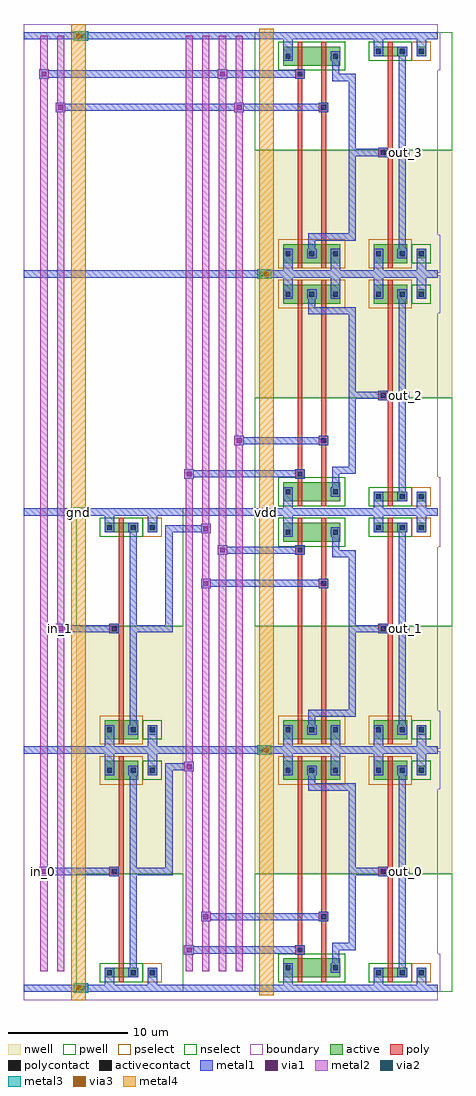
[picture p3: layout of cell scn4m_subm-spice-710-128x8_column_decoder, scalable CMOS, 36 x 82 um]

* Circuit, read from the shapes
.subckt scn4m_subm-spice-710-128x8_column_decoder gnd in_0 in_1 out_0 out_1 out_2 out_3 vdd
M1 scn4m_subm-spice-710-128x8_hierarchical_predecode2x4_0_0/scn4m_subm-spice-710-128x8_pand2_2/A in_0 gnd gnd nfet w=0.8u l=0.4u
M2 scn4m_subm-spice-710-128x8_hierarchical_predecode2x4_0_0/scn4m_subm-spice-710-128x8_pand2_2/B in_1 gnd gnd nfet w=0.8u l=0.4u
M3 scn4m_subm-spice-710-128x8_hierarchical_predecode2x4_0_0/scn4m_subm-spice-710-128x8_pand2_2/scn4m_subm-spice-710-128x8_pnand2_0_0/scn4m_subm-spice-710-128x8_nmos_m1_w1_600_sm1_dactive_2/D scn4m_subm-spice-710-128x8_hierarchical_predecode2x4_0_0/scn4m_subm-spice-710-128x8_pand2_2/A gnd gnd nfet w=1.6u l=0.4u
M4 scn4m_subm-spice-710-128x8_hierarchical_predecode2x4_0_0/scn4m_subm-spice-710-128x8_pand2_3/scn4m_subm-spice-710-128x8_pnand2_0_0/scn4m_subm-spice-710-128x8_nmos_m1_w1_600_sm1_dactive_2/D in_0 gnd gnd nfet w=1.6u l=0.4u
M5 scn4m_subm-spice-710-128x8_hierarchical_predecode2x4_0_0/scn4m_subm-spice-710-128x8_pand2_4/scn4m_subm-spice-710-128x8_pnand2_0_0/scn4m_subm-spice-710-128x8_nmos_m1_w1_600_sm1_dactive_2/D scn4m_subm-spice-710-128x8_hierarchical_predecode2x4_0_0/scn4m_subm-spice-710-128x8_pand2_2/A gnd gnd nfet w=1.6u l=0.4u
M6 scn4m_subm-spice-710-128x8_hierarchical_predecode2x4_0_0/scn4m_subm-spice-710-128x8_pand2_5/scn4m_subm-spice-710-128x8_pnand2_0_0/scn4m_subm-spice-710-128x8_nmos_m1_w1_600_sm1_dactive_2/D in_0 gnd gnd nfet w=1.6u l=0.4u
M7 scn4m_subm-spice-710-128x8_hierarchical_predecode2x4_0_0/scn4m_subm-spice-710-128x8_pand2_2/scn4m_subm-spice-710-128x8_pdriver_1/A scn4m_subm-spice-710-128x8_hierarchical_predecode2x4_0_0/scn4m_subm-spice-710-128x8_pand2_2/B scn4m_subm-spice-710-128x8_hierarchical_predecode2x4_0_0/scn4m_subm-spice-710-128x8_pand2_2/scn4m_subm-spice-710-128x8_pnand2_0_0/scn4m_subm-spice-710-128x8_nmos_m1_w1_600_sm1_dactive_2/D gnd nfet w=1.6u l=0.4u
M8 scn4m_subm-spice-710-128x8_hierarchical_predecode2x4_0_0/scn4m_subm-spice-710-128x8_pand2_3/scn4m_subm-spice-710-128x8_pdriver_1/A scn4m_subm-spice-710-128x8_hierarchical_predecode2x4_0_0/scn4m_subm-spice-710-128x8_pand2_2/B scn4m_subm-spice-710-128x8_hierarchical_predecode2x4_0_0/scn4m_subm-spice-710-128x8_pand2_3/scn4m_subm-spice-710-128x8_pnand2_0_0/scn4m_subm-spice-710-128x8_nmos_m1_w1_600_sm1_dactive_2/D gnd nfet w=1.6u l=0.4u
M9 scn4m_subm-spice-710-128x8_hierarchical_predecode2x4_0_0/scn4m_subm-spice-710-128x8_pand2_4/scn4m_subm-spice-710-128x8_pdriver_1/A in_1 scn4m_subm-spice-710-128x8_hierarchical_predecode2x4_0_0/scn4m_subm-spice-710-128x8_pand2_4/scn4m_subm-spice-710-128x8_pnand2_0_0/scn4m_subm-spice-710-128x8_nmos_m1_w1_600_sm1_dactive_2/D gnd nfet w=1.6u l=0.4u
M10 scn4m_subm-spice-710-128x8_hierarchical_predecode2x4_0_0/scn4m_subm-spice-710-128x8_pand2_5/scn4m_subm-spice-710-128x8_pdriver_1/A in_1 scn4m_subm-spice-710-128x8_hierarchical_predecode2x4_0_0/scn4m_subm-spice-710-128x8_pand2_5/scn4m_subm-spice-710-128x8_pnand2_0_0/scn4m_subm-spice-710-128x8_nmos_m1_w1_600_sm1_dactive_2/D gnd nfet w=1.6u l=0.4u
M11 out_0 scn4m_subm-spice-710-128x8_hierarchical_predecode2x4_0_0/scn4m_subm-spice-710-128x8_pand2_2/scn4m_subm-spice-710-128x8_pdriver_1/A gnd gnd nfet w=0.8u l=0.4u
M12 out_1 scn4m_subm-spice-710-128x8_hierarchical_predecode2x4_0_0/scn4m_subm-spice-710-128x8_pand2_3/scn4m_subm-spice-710-128x8_pdriver_1/A gnd gnd nfet w=0.8u l=0.4u
M13 out_2 scn4m_subm-spice-710-128x8_hierarchical_predecode2x4_0_0/scn4m_subm-spice-710-128x8_pand2_4/scn4m_subm-spice-710-128x8_pdriver_1/A gnd gnd nfet w=0.8u l=0.4u
M14 out_3 scn4m_subm-spice-710-128x8_hierarchical_predecode2x4_0_0/scn4m_subm-spice-710-128x8_pand2_5/scn4m_subm-spice-710-128x8_pdriver_1/A gnd gnd nfet w=0.8u l=0.4u
M15 scn4m_subm-spice-710-128x8_hierarchical_predecode2x4_0_0/scn4m_subm-spice-710-128x8_pand2_2/A in_0 vdd vdd pfet w=1.6u l=0.4u
M16 scn4m_subm-spice-710-128x8_hierarchical_predecode2x4_0_0/scn4m_subm-spice-710-128x8_pand2_2/B in_1 vdd vdd pfet w=1.6u l=0.4u
M17 scn4m_subm-spice-710-128x8_hierarchical_predecode2x4_0_0/scn4m_subm-spice-710-128x8_pand2_2/scn4m_subm-spice-710-128x8_pdriver_1/A scn4m_subm-spice-710-128x8_hierarchical_predecode2x4_0_0/scn4m_subm-spice-710-128x8_pand2_2/A vdd vdd pfet w=1.6u l=0.4u
M18 scn4m_subm-spice-710-128x8_hierarchical_predecode2x4_0_0/scn4m_subm-spice-710-128x8_pand2_3/scn4m_subm-spice-710-128x8_pdriver_1/A in_0 vdd vdd pfet w=1.6u l=0.4u
M19 scn4m_subm-spice-710-128x8_hierarchical_predecode2x4_0_0/scn4m_subm-spice-710-128x8_pand2_4/scn4m_subm-spice-710-128x8_pdriver_1/A scn4m_subm-spice-710-128x8_hierarchical_predecode2x4_0_0/scn4m_subm-spice-710-128x8_pand2_2/A vdd vdd pfet w=1.6u l=0.4u
M20 scn4m_subm-spice-710-128x8_hierarchical_predecode2x4_0_0/scn4m_subm-spice-710-128x8_pand2_5/scn4m_subm-spice-710-128x8_pdriver_1/A in_0 vdd vdd pfet w=1.6u l=0.4u
M21 vdd scn4m_subm-spice-710-128x8_hierarchical_predecode2x4_0_0/scn4m_subm-spice-710-128x8_pand2_2/B scn4m_subm-spice-710-128x8_hierarchical_predecode2x4_0_0/scn4m_subm-spice-710-128x8_pand2_2/scn4m_subm-spice-710-128x8_pdriver_1/A vdd pfet w=1.6u l=0.4u
M22 vdd scn4m_subm-spice-710-128x8_hierarchical_predecode2x4_0_0/scn4m_subm-spice-710-128x8_pand2_2/B scn4m_subm-spice-710-128x8_hierarchical_predecode2x4_0_0/scn4m_subm-spice-710-128x8_pand2_3/scn4m_subm-spice-710-128x8_pdriver_1/A vdd pfet w=1.6u l=0.4u
M23 vdd in_1 scn4m_subm-spice-710-128x8_hierarchical_predecode2x4_0_0/scn4m_subm-spice-710-128x8_pand2_4/scn4m_subm-spice-710-128x8_pdriver_1/A vdd pfet w=1.6u l=0.4u
M24 vdd in_1 scn4m_subm-spice-710-128x8_hierarchical_predecode2x4_0_0/scn4m_subm-spice-710-128x8_pand2_5/scn4m_subm-spice-710-128x8_pdriver_1/A vdd pfet w=1.6u l=0.4u
M25 out_0 scn4m_subm-spice-710-128x8_hierarchical_predecode2x4_0_0/scn4m_subm-spice-710-128x8_pand2_2/scn4m_subm-spice-710-128x8_pdriver_1/A vdd vdd pfet w=1.6u l=0.4u
M26 out_1 scn4m_subm-spice-710-128x8_hierarchical_predecode2x4_0_0/scn4m_subm-spice-710-128x8_pand2_3/scn4m_subm-spice-710-128x8_pdriver_1/A vdd vdd pfet w=1.6u l=0.4u
M27 out_2 scn4m_subm-spice-710-128x8_hierarchical_predecode2x4_0_0/scn4m_subm-spice-710-128x8_pand2_4/scn4m_subm-spice-710-128x8_pdriver_1/A vdd vdd pfet w=1.6u l=0.4u
M28 out_3 scn4m_subm-spice-710-128x8_hierarchical_predecode2x4_0_0/scn4m_subm-spice-710-128x8_pand2_5/scn4m_subm-spice-710-128x8_pdriver_1/A vdd vdd pfet w=1.6u l=0.4u
.ends

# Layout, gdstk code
import gdstk
lib = gdstk.Library(unit=1e-6, precision=1e-09)
def R(c, l, rs):  # rectangles x0, y0, x1, y1
    for r in rs: c.add(gdstk.rectangle(r[:2], r[2:], *l))
def A(c, l, x, y, w, h, nx, ny, dx, dy):  # array of equal rectangles
    R(c, l, [(x+i*dx, y+j*dy, x+i*dx+w, y+j*dy+h) for i in range(nx) for j in range(ny)])
via3 = (30, 0)
metal4 = (31, 0)
pwell = (41, 0)
nwell = (42, 0)
active = (43, 0)
pselect = (44, 0)
nselect = (45, 0)
poly = (46, 0)
polycontact = (47, 0)
activecontact = (48, 0)
metal1 = (49, 0)
via1 = (50, 0)
metal2 = (51, 0)
via2 = (61, 0)
metal3 = (62, 0)
boundary = (63, 0)

scn4m_subm_spice_710_128 = lib.new_cell('scn4m_subm-spice-710-128x8_contact_12')
R(scn4m_subm_spice_710_128, nwell, [(-1.2,-1.2,2,2)])
R(scn4m_subm_spice_710_128, active, [(0,0,0.8,0.8)])
R(scn4m_subm_spice_710_128, pselect, [(-0.4,-0.4,1.2,1.2)])
R(scn4m_subm_spice_710_128, activecontact, [(0.2,0.2,0.6,0.6)])
R(scn4m_subm_spice_710_128, metal1, [(0,0,0.8,0.8)])
R(scn4m_subm_spice_710_128, boundary, [(-1.2,-1.2,2,2)])

c_scn4m_subm_spice_710_128 = lib.new_cell('scn4m_subm-spice-710-128x8_pmos_m1_w1_600_sm1_dm1_da_p')
R(c_scn4m_subm_spice_710_128, nwell, [(-1.2,-1.2,4,2.8)])
R(c_scn4m_subm_spice_710_128, active, [(0,0,2.8,1.6)])
R(c_scn4m_subm_spice_710_128, pselect, [(-0.4,-0.4,3.2,2)])
R(c_scn4m_subm_spice_710_128, poly, [(1.2,-0.4,1.6,2), (1.2,-0.4,1.6,2)])
R(c_scn4m_subm_spice_710_128, metal1, [(0,0.4,0.8,1.2), (2,0.4,2.8,1.2)])
R(c_scn4m_subm_spice_710_128, boundary, [(-1.2,-1.2,4,2.8)])
c_scn4m_subm_spice_710_128.add(gdstk.Reference(scn4m_subm_spice_710_128, (0,0.4)))
c_scn4m_subm_spice_710_128.add(gdstk.Reference(scn4m_subm_spice_710_128, (2,0.4)))
c_scn4m_subm_spice_710_128.add(gdstk.Label('G', (1.4,0.8), layer=46, texttype=0))
c_scn4m_subm_spice_710_128.add(gdstk.Label('S', (0.4,0.8), layer=49, texttype=0))
c_scn4m_subm_spice_710_128.add(gdstk.Label('D', (2.4,0.8), layer=49, texttype=0))

c_scn4m_subm_spice_710_128_ = lib.new_cell('scn4m_subm-spice-710-128x8_contact_11')
R(c_scn4m_subm_spice_710_128_, pwell, [(-1.2,-1.2,2,2)])
R(c_scn4m_subm_spice_710_128_, active, [(0,0,0.8,0.8)])
R(c_scn4m_subm_spice_710_128_, nselect, [(-0.4,-0.4,1.2,1.2)])
R(c_scn4m_subm_spice_710_128_, activecontact, [(0.2,0.2,0.6,0.6)])
R(c_scn4m_subm_spice_710_128_, metal1, [(0,0,0.8,0.8)])
R(c_scn4m_subm_spice_710_128_, boundary, [(-1.2,-1.2,2,2)])

c_scn4m_subm_spice_710_128__ = lib.new_cell('scn4m_subm-spice-710-128x8_nmos_m1_w0_800_sm1_dm1_da_p')
R(c_scn4m_subm_spice_710_128__, pwell, [(-1.2,-1.2,4,2)])
R(c_scn4m_subm_spice_710_128__, active, [(0,0,2.8,0.8)])
R(c_scn4m_subm_spice_710_128__, nselect, [(-0.4,-0.4,3.2,1.2)])
R(c_scn4m_subm_spice_710_128__, poly, [(1.2,-0.4,1.6,1.2), (1.2,-0.4,1.6,1.2)])
R(c_scn4m_subm_spice_710_128__, metal1, [(0,0,0.8,0.8), (2,0,2.8,0.8)])
R(c_scn4m_subm_spice_710_128__, boundary, [(-1.2,-1.2,4,2)])
c_scn4m_subm_spice_710_128__.add(gdstk.Reference(c_scn4m_subm_spice_710_128_, (0,0)))
c_scn4m_subm_spice_710_128__.add(gdstk.Reference(c_scn4m_subm_spice_710_128_, (2,0)))
c_scn4m_subm_spice_710_128__.add(gdstk.Label('G', (1.4,0.4), layer=46, texttype=0))
c_scn4m_subm_spice_710_128__.add(gdstk.Label('S', (0.4,0.4), layer=49, texttype=0))
c_scn4m_subm_spice_710_128__.add(gdstk.Label('D', (2.4,0.4), layer=49, texttype=0))

c_scn4m_subm_spice_710_128___ = lib.new_cell('scn4m_subm-spice-710-128x8_contact_13')
R(c_scn4m_subm_spice_710_128___, nwell, [(-1.2,-1.2,2,2)])
R(c_scn4m_subm_spice_710_128___, active, [(0,0,0.8,0.8)])
R(c_scn4m_subm_spice_710_128___, nselect, [(-0.4,-0.4,1.2,1.2)])
R(c_scn4m_subm_spice_710_128___, activecontact, [(0.2,0.2,0.6,0.6)])
R(c_scn4m_subm_spice_710_128___, metal1, [(0,0,0.8,0.8)])
R(c_scn4m_subm_spice_710_128___, boundary, [(-1.2,-1.2,2,2)])

c_scn4m_subm_spice_710_128____ = lib.new_cell('scn4m_subm-spice-710-128x8_contact_14')
R(c_scn4m_subm_spice_710_128____, pwell, [(-1.2,-1.2,2,2)])
R(c_scn4m_subm_spice_710_128____, active, [(0,0,0.8,0.8)])
R(c_scn4m_subm_spice_710_128____, pselect, [(-0.4,-0.4,1.2,1.2)])
R(c_scn4m_subm_spice_710_128____, activecontact, [(0.2,0.2,0.6,0.6)])
R(c_scn4m_subm_spice_710_128____, metal1, [(0,0,0.8,0.8)])
R(c_scn4m_subm_spice_710_128____, boundary, [(-1.2,-1.2,2,2)])

c_scn4m_subm_spice_710_128_____ = lib.new_cell('scn4m_subm-spice-710-128x8_contact_15')
R(c_scn4m_subm_spice_710_128_____, poly, [(0,0,0.8,0.8)])
R(c_scn4m_subm_spice_710_128_____, polycontact, [(0.2,0.2,0.6,0.6)])
R(c_scn4m_subm_spice_710_128_____, metal1, [(0,0,0.8,0.8)])
R(c_scn4m_subm_spice_710_128_____, boundary, [(0,0,0.8,0.8)])

c_scn4m_subm_spice_710_128______ = lib.new_cell('scn4m_subm-spice-710-128x8_pinv_2')
R(c_scn4m_subm_spice_710_128______, pwell, [(-1.2,-0.3,7.8,9.6)])
R(c_scn4m_subm_spice_710_128______, nwell, [(-1.2,9.6,7.8,21.5)])
R(c_scn4m_subm_spice_710_128______, poly, [(2.4,2.1,2.8,17.1), (2,9.4,2.4,10.2)])
R(c_scn4m_subm_spice_710_128______, metal1, [(0,-0.3,6.6,0.3), (1.2,-0.3,2,0.9), (4.8,0,5.6,1.3), (3.3,0.9,3.9,18.7), (1.6,9.4,2.4,10.2), (3.6,9.5,4.2,10.1), (1.2,17.9,2,20.3), (4.8,18.3,5.6,20), (0,19.7,6.6,20.3)])
R(c_scn4m_subm_spice_710_128______, boundary, [(0,0,6.6,20), (0,0,6.6,20)])
c_scn4m_subm_spice_710_128______.add(gdstk.Reference(c_scn4m_subm_spice_710_128, (1.2,17.5)))
c_scn4m_subm_spice_710_128______.add(gdstk.Reference(c_scn4m_subm_spice_710_128__, (1.2,0.9)))
c_scn4m_subm_spice_710_128______.add(gdstk.Reference(c_scn4m_subm_spice_710_128___, (4.8,17.9)))
c_scn4m_subm_spice_710_128______.add(gdstk.Reference(c_scn4m_subm_spice_710_128____, (4.8,0.9)))
c_scn4m_subm_spice_710_128______.add(gdstk.Reference(c_scn4m_subm_spice_710_128_____, (1.6,9.4)))
c_scn4m_subm_spice_710_128______.add(gdstk.Label('A', (2,9.8), layer=49, texttype=0))
c_scn4m_subm_spice_710_128______.add(gdstk.Label('Z', (3.9,9.8), layer=49, texttype=0))
c_scn4m_subm_spice_710_128______.add(gdstk.Label('gnd', (3.3,0), layer=49, texttype=0))
c_scn4m_subm_spice_710_128______.add(gdstk.Label('vdd', (3.3,20), layer=49, texttype=0))

c_scn4m_subm_spice_710_128_______ = lib.new_cell('scn4m_subm-spice-710-128x8_pmos_m1_w1_600_sm1_dm1')
R(c_scn4m_subm_spice_710_128_______, nwell, [(-1.2,-1.2,4,2.8)])
R(c_scn4m_subm_spice_710_128_______, active, [(0,0,2.8,1.6)])
R(c_scn4m_subm_spice_710_128_______, pselect, [(-0.4,-0.4,3.2,2)])
R(c_scn4m_subm_spice_710_128_______, poly, [(1.2,-0.4,1.6,2), (1.2,-0.4,1.6,2)])
R(c_scn4m_subm_spice_710_128_______, metal1, [(0,0.4,0.8,1.2), (2,0.4,2.8,1.2)])
R(c_scn4m_subm_spice_710_128_______, boundary, [(-1.2,-1.2,4,2.8)])
c_scn4m_subm_spice_710_128_______.add(gdstk.Reference(scn4m_subm_spice_710_128, (0,0.4)))
c_scn4m_subm_spice_710_128_______.add(gdstk.Reference(scn4m_subm_spice_710_128, (2,0.4)))
c_scn4m_subm_spice_710_128_______.add(gdstk.Label('G', (1.4,0.8), layer=46, texttype=0))
c_scn4m_subm_spice_710_128_______.add(gdstk.Label('S', (0.4,0.8), layer=49, texttype=0))
c_scn4m_subm_spice_710_128_______.add(gdstk.Label('D', (2.4,0.8), layer=49, texttype=0))

c_scn4m_subm_spice_710_128________ = lib.new_cell('scn4m_subm-spice-710-128x8_nmos_m1_w1_600_sm1_dactive')
R(c_scn4m_subm_spice_710_128________, pwell, [(-1.2,-1.2,4,2.8)])
R(c_scn4m_subm_spice_710_128________, active, [(0,0,2.8,1.6), (2.1,0.5,2.7,1.1)])
R(c_scn4m_subm_spice_710_128________, nselect, [(-0.4,-0.4,3.2,2)])
R(c_scn4m_subm_spice_710_128________, poly, [(1.2,-0.4,1.6,2), (1.2,-0.4,1.6,2)])
R(c_scn4m_subm_spice_710_128________, metal1, [(0,0.4,0.8,1.2)])
R(c_scn4m_subm_spice_710_128________, boundary, [(-1.2,-1.2,4,2.8)])
c_scn4m_subm_spice_710_128________.add(gdstk.Reference(c_scn4m_subm_spice_710_128_, (0,0.4)))
c_scn4m_subm_spice_710_128________.add(gdstk.Label('G', (1.4,0.8), layer=46, texttype=0))
c_scn4m_subm_spice_710_128________.add(gdstk.Label('S', (0.4,0.8), layer=49, texttype=0))
c_scn4m_subm_spice_710_128________.add(gdstk.Label('D', (2.4,0.8), layer=43, texttype=0))

c_scn4m_subm_spice_710_128_________ = lib.new_cell('scn4m_subm-spice-710-128x8_nmos_m1_w1_600_sactive_dm1')
R(c_scn4m_subm_spice_710_128_________, pwell, [(-1.2,-1.2,4,2.8)])
R(c_scn4m_subm_spice_710_128_________, active, [(0,0,2.8,1.6), (0.1,0.5,0.7,1.1)])
R(c_scn4m_subm_spice_710_128_________, nselect, [(-0.4,-0.4,3.2,2)])
R(c_scn4m_subm_spice_710_128_________, poly, [(1.2,-0.4,1.6,2), (1.2,-0.4,1.6,2)])
R(c_scn4m_subm_spice_710_128_________, metal1, [(2,0.4,2.8,1.2)])
R(c_scn4m_subm_spice_710_128_________, boundary, [(-1.2,-1.2,4,2.8)])
c_scn4m_subm_spice_710_128_________.add(gdstk.Reference(c_scn4m_subm_spice_710_128_, (2,0.4)))
c_scn4m_subm_spice_710_128_________.add(gdstk.Label('G', (1.4,0.8), layer=46, texttype=0))
c_scn4m_subm_spice_710_128_________.add(gdstk.Label('S', (0.4,0.8), layer=43, texttype=0))
c_scn4m_subm_spice_710_128_________.add(gdstk.Label('D', (2.4,0.8), layer=49, texttype=0))

c_scn4m_subm_spice_710_128__________ = lib.new_cell('scn4m_subm-spice-710-128x8_pnand2_0')
R(c_scn4m_subm_spice_710_128__________, pwell, [(-1.2,-0.3,8.8,9.6)])
R(c_scn4m_subm_spice_710_128__________, nwell, [(-1.2,9.6,8.8,21.5)])
R(c_scn4m_subm_spice_710_128__________, poly, [(2.4,2.8,2.6,3.6), (2.4,2.9,2.8,17.1), (4.4,2.9,4.8,17.1), (4.4,5.6,4.6,6.4)])
R(c_scn4m_subm_spice_710_128__________, metal1, [(0,-0.3,7.6,0.3), (1.2,-0.3,2,1.3), (5.3,2.1,5.9,3.5), (2.2,2.8,3,3.6), (5.3,3.2,5.9,3.8), (5.6,3.2,7,3.8), (6.7,3.2,7.3,3.8), (6.7,3.5,7.3,16.9), (4.2,5.6,5,6.4), (3.3,16.6,3.9,17.2), (3.6,16.6,7,17.2), (6.7,16.6,7.3,17.2), (3.3,16.9,3.9,17.9), (1.2,17.9,2,20.3), (5.2,17.9,6,20.3), (0,19.7,7.6,20.3)])
R(c_scn4m_subm_spice_710_128__________, boundary, [(0,0,7.6,20), (0,0,7.6,20)])
c_scn4m_subm_spice_710_128__________.add(gdstk.Reference(c_scn4m_subm_spice_710_128_______, (1.2,17.5)))
c_scn4m_subm_spice_710_128__________.add(gdstk.Reference(c_scn4m_subm_spice_710_128_______, (3.2,17.5)))
c_scn4m_subm_spice_710_128__________.add(gdstk.Reference(c_scn4m_subm_spice_710_128________, (1.2,0.9)))
c_scn4m_subm_spice_710_128__________.add(gdstk.Reference(c_scn4m_subm_spice_710_128_________, (3.2,0.9)))
c_scn4m_subm_spice_710_128__________.add(gdstk.Reference(c_scn4m_subm_spice_710_128_____, (2.2,2.8)))
c_scn4m_subm_spice_710_128__________.add(gdstk.Reference(c_scn4m_subm_spice_710_128_____, (4.2,5.6)))
c_scn4m_subm_spice_710_128__________.add(gdstk.Label('Z', (7,16.9), layer=49, texttype=0))
c_scn4m_subm_spice_710_128__________.add(gdstk.Label('gnd', (3.8,0), layer=49, texttype=0))
c_scn4m_subm_spice_710_128__________.add(gdstk.Label('vdd', (3.8,20), layer=49, texttype=0))
c_scn4m_subm_spice_710_128__________.add(gdstk.Label('A', (2.6,3.2), layer=49, texttype=0))
c_scn4m_subm_spice_710_128__________.add(gdstk.Label('B', (4.6,6), layer=49, texttype=0))

c_scn4m_subm_spice_710_128___________ = lib.new_cell('scn4m_subm-spice-710-128x8_pinv_1')
R(c_scn4m_subm_spice_710_128___________, pwell, [(-1.2,-0.3,7.8,9.6)])
R(c_scn4m_subm_spice_710_128___________, nwell, [(-1.2,9.6,7.8,21.5)])
R(c_scn4m_subm_spice_710_128___________, poly, [(2.4,2.1,2.8,17.1), (2,9.4,2.4,10.2)])
R(c_scn4m_subm_spice_710_128___________, metal1, [(0,-0.3,6.6,0.3), (1.2,-0.3,2,0.9), (4.8,0,5.6,1.3), (3.3,0.9,3.9,18.7), (1.6,9.4,2.4,10.2), (3.6,9.5,4.2,10.1), (1.2,17.9,2,20.3), (4.8,18.3,5.6,20), (0,19.7,6.6,20.3)])
R(c_scn4m_subm_spice_710_128___________, boundary, [(0,0,6.6,20), (0,0,6.6,20)])
c_scn4m_subm_spice_710_128___________.add(gdstk.Reference(c_scn4m_subm_spice_710_128, (1.2,17.5)))
c_scn4m_subm_spice_710_128___________.add(gdstk.Reference(c_scn4m_subm_spice_710_128__, (1.2,0.9)))
c_scn4m_subm_spice_710_128___________.add(gdstk.Reference(c_scn4m_subm_spice_710_128___, (4.8,17.9)))
c_scn4m_subm_spice_710_128___________.add(gdstk.Reference(c_scn4m_subm_spice_710_128____, (4.8,0.9)))
c_scn4m_subm_spice_710_128___________.add(gdstk.Reference(c_scn4m_subm_spice_710_128_____, (1.6,9.4)))
c_scn4m_subm_spice_710_128___________.add(gdstk.Label('A', (2,9.8), layer=49, texttype=0))
c_scn4m_subm_spice_710_128___________.add(gdstk.Label('Z', (3.9,9.8), layer=49, texttype=0))
c_scn4m_subm_spice_710_128___________.add(gdstk.Label('gnd', (3.3,0), layer=49, texttype=0))
c_scn4m_subm_spice_710_128___________.add(gdstk.Label('vdd', (3.3,20), layer=49, texttype=0))

c_scn4m_subm_spice_710_128____________ = lib.new_cell('scn4m_subm-spice-710-128x8_pdriver')
R(c_scn4m_subm_spice_710_128____________, pwell, [(-1.2,-0.3,7.8,9.6)])
R(c_scn4m_subm_spice_710_128____________, nwell, [(-1.2,9.6,7.8,21.5)])
R(c_scn4m_subm_spice_710_128____________, metal1, [(0,-0.3,6.6,0.3), (1.6,9.4,2.4,10.2), (3.6,9.5,4.2,10.1), (0,19.7,6.6,20.3)])
R(c_scn4m_subm_spice_710_128____________, boundary, [(0,0,6.6,20), (0,0,6.6,20)])
c_scn4m_subm_spice_710_128____________.add(gdstk.Reference(c_scn4m_subm_spice_710_128___________, (0,0)))
c_scn4m_subm_spice_710_128____________.add(gdstk.Label('Z', (3.9,9.8), layer=49, texttype=0))
c_scn4m_subm_spice_710_128____________.add(gdstk.Label('A', (2,9.8), layer=49, texttype=0))
c_scn4m_subm_spice_710_128____________.add(gdstk.Label('gnd', (3.3,0), layer=49, texttype=0))
c_scn4m_subm_spice_710_128____________.add(gdstk.Label('vdd', (3.3,20), layer=49, texttype=0))

c_scn4m_subm_spice_710_128_____________ = lib.new_cell('scn4m_subm-spice-710-128x8_pand2')
R(c_scn4m_subm_spice_710_128_____________, metal1, [(0,-0.3,14.2,0.3), (2.2,2.8,3,3.6), (4.2,5.6,5,6.4), (6.7,9.5,7.3,10.1), (7,9.5,9.6,10.1), (11.2,9.5,11.8,10.1), (6.7,9.8,7.3,16.9), (0,19.7,14.2,20.3)])
R(c_scn4m_subm_spice_710_128_____________, boundary, [(0,0,14.2,20), (0,0,14.2,20)])
c_scn4m_subm_spice_710_128_____________.add(gdstk.Reference(c_scn4m_subm_spice_710_128__________, (0,0)))
c_scn4m_subm_spice_710_128_____________.add(gdstk.Reference(c_scn4m_subm_spice_710_128____________, (7.6,0)))
c_scn4m_subm_spice_710_128_____________.add(gdstk.Label('Z', (11.5,9.8), layer=49, texttype=0))
c_scn4m_subm_spice_710_128_____________.add(gdstk.Label('A', (2.6,3.2), layer=49, texttype=0))
c_scn4m_subm_spice_710_128_____________.add(gdstk.Label('B', (4.6,6), layer=49, texttype=0))
c_scn4m_subm_spice_710_128_____________.add(gdstk.Label('gnd', (7.1,0), layer=49, texttype=0))
c_scn4m_subm_spice_710_128_____________.add(gdstk.Label('vdd', (7.1,20), layer=49, texttype=0))

c_scn4m_subm_spice_710_128______________ = lib.new_cell('scn4m_subm-spice-710-128x8_contact_16')
R(c_scn4m_subm_spice_710_128______________, metal1, [(0,0,0.8,0.8)])
R(c_scn4m_subm_spice_710_128______________, via1, [(0.2,0.2,0.6,0.6)])
R(c_scn4m_subm_spice_710_128______________, metal2, [(0,0,0.8,0.8)])
R(c_scn4m_subm_spice_710_128______________, boundary, [(0,0,0.8,0.8)])

c_scn4m_subm_spice_710_128_______________ = lib.new_cell('scn4m_subm-spice-710-128x8_contact_18')
R(c_scn4m_subm_spice_710_128_______________, metal1, [(0,0,0.8,0.8)])
R(c_scn4m_subm_spice_710_128_______________, via1, [(0.2,0.2,0.6,0.6)])
R(c_scn4m_subm_spice_710_128_______________, metal2, [(0,0,0.8,0.8)])
R(c_scn4m_subm_spice_710_128_______________, boundary, [(0,0,0.8,0.8)])

c_scn4m_subm_spice_710_128________________ = lib.new_cell('scn4m_subm-spice-710-128x8_contact_19')
R(c_scn4m_subm_spice_710_128________________, metal2, [(0,0,0.8,0.8)])
R(c_scn4m_subm_spice_710_128________________, via2, [(0.2,0.2,0.6,0.6)])
R(c_scn4m_subm_spice_710_128________________, metal3, [(0,0,0.8,0.8)])
R(c_scn4m_subm_spice_710_128________________, boundary, [(0,0,0.8,0.8)])

c_scn4m_subm_spice_710_128_________________ = lib.new_cell('scn4m_subm-spice-710-128x8_hierarchical_predecode2x4_0')
R(c_scn4m_subm_spice_710_128_________________, metal1, [(0,-0.3,34.8,0.3), (13.9,2.9,23.2,3.5), (22.9,2.9,23.5,3.5), (15.3,5.7,25.2,6.3), (24.9,5.7,25.5,6.3), (1.7,9.5,7.6,10.1), (7.3,9.5,7.9,10.1), (9.5,9.5,10.1,10.1), (9.8,9.5,12.2,10.1), (11.9,9.5,12.5,10.1), (31.8,9.5,32.4,10.1), (11.9,9.8,12.5,18.6), (11.9,18.3,12.5,18.9), (12.2,18.3,13.9,18.9), (0,19.7,34.8,20.3), (0,19.7,34.8,20.3), (3.1,29.9,7.6,30.5), (7.3,29.9,7.9,30.5), (9.5,29.9,10.1,30.5), (9.8,29.9,12.2,30.5), (11.9,29.9,12.5,30.5), (31.8,29.9,32.4,30.5), (11.9,30.2,12.5,38.6), (15.3,33.7,25.2,34.3), (24.9,33.7,25.5,34.3), (16.7,36.5,23.2,37.1), (22.9,36.5,23.5,37.1), (11.9,38.3,12.5,38.9), (12.2,38.3,15.3,38.9), (0,39.7,34.8,40.3), (0,39.7,34.8,40.3), (13.9,42.9,23.2,43.5), (22.9,42.9,23.5,43.5), (18.1,45.7,25.2,46.3), (24.9,45.7,25.5,46.3), (31.8,49.5,32.4,50.1), (0,59.7,34.8,60.3), (0,59.7,34.8,60.3), (31.8,69.9,32.4,70.5), (3.1,73.7,18.1,74.3), (18.1,73.7,25.2,74.3), (24.9,73.7,25.5,74.3), (1.7,76.5,16.7,77.1), (16.7,76.5,23.2,77.1), (22.9,76.5,23.5,77.1), (0,79.7,34.8,80.3)])
A(c_scn4m_subm_spice_710_128_________________, metal2, 13.6, 1.4, 0.6, 78.6, 4, 1, 1.4, 0)
R(c_scn4m_subm_spice_710_128_________________, metal2, [(1.4,1.4,2,80), (2.8,1.4,3.4,80), (1.3,9.4,2.1,10.2), (2.7,29.8,3.5,30.6)])
A(c_scn4m_subm_spice_710_128_________________, metal3, 4.6, -0.4, 0.8, 0.8, 1, 3, 0, 40)
R(c_scn4m_subm_spice_710_128_________________, metal3, [(19.6,19.6,20.4,20.4), (19.6,59.6,20.4,60.4)])
R(c_scn4m_subm_spice_710_128_________________, boundary, [(0,0,34.8,80)])
c_scn4m_subm_spice_710_128_________________.add(gdstk.Reference(c_scn4m_subm_spice_710_128______, (5.6,0)))
c_scn4m_subm_spice_710_128_________________.add(gdstk.Reference(c_scn4m_subm_spice_710_128______, (5.6,40), x_reflection=True))
c_scn4m_subm_spice_710_128_________________.add(gdstk.Reference(c_scn4m_subm_spice_710_128_____________, (20.6,0)))
c_scn4m_subm_spice_710_128_________________.add(gdstk.Reference(c_scn4m_subm_spice_710_128_____________, (20.6,40), x_reflection=True))
c_scn4m_subm_spice_710_128_________________.add(gdstk.Reference(c_scn4m_subm_spice_710_128_____________, (20.6,40)))
c_scn4m_subm_spice_710_128_________________.add(gdstk.Reference(c_scn4m_subm_spice_710_128_____________, (20.6,80), x_reflection=True))
c_scn4m_subm_spice_710_128_________________.add(gdstk.Reference(c_scn4m_subm_spice_710_128______________, (1.3,9.4)))
c_scn4m_subm_spice_710_128_________________.add(gdstk.Reference(c_scn4m_subm_spice_710_128______________, (2.7,29.8)))
c_scn4m_subm_spice_710_128_________________.add(gdstk.Reference(c_scn4m_subm_spice_710_128______________, (13.5,2.8)))
c_scn4m_subm_spice_710_128_________________.add(gdstk.Reference(c_scn4m_subm_spice_710_128______________, (14.9,5.6)))
c_scn4m_subm_spice_710_128_________________.add(gdstk.Reference(c_scn4m_subm_spice_710_128______________, (16.3,36.4)))
c_scn4m_subm_spice_710_128_________________.add(gdstk.Reference(c_scn4m_subm_spice_710_128______________, (14.9,33.6)))
c_scn4m_subm_spice_710_128_________________.add(gdstk.Reference(c_scn4m_subm_spice_710_128______________, (13.5,42.8)))
c_scn4m_subm_spice_710_128_________________.add(gdstk.Reference(c_scn4m_subm_spice_710_128______________, (17.7,45.6)))
c_scn4m_subm_spice_710_128_________________.add(gdstk.Reference(c_scn4m_subm_spice_710_128______________, (16.3,76.4)))
c_scn4m_subm_spice_710_128_________________.add(gdstk.Reference(c_scn4m_subm_spice_710_128______________, (17.7,73.6)))
c_scn4m_subm_spice_710_128_________________.add(gdstk.Reference(c_scn4m_subm_spice_710_128______________, (13.5,18.2)))
c_scn4m_subm_spice_710_128_________________.add(gdstk.Reference(c_scn4m_subm_spice_710_128______________, (14.9,38.2)))
c_scn4m_subm_spice_710_128_________________.add(gdstk.Reference(c_scn4m_subm_spice_710_128_______________, (1.3,76.4)))
c_scn4m_subm_spice_710_128_________________.add(gdstk.Reference(c_scn4m_subm_spice_710_128_______________, (16.3,76.4)))
c_scn4m_subm_spice_710_128_________________.add(gdstk.Reference(c_scn4m_subm_spice_710_128_______________, (2.7,73.6)))
c_scn4m_subm_spice_710_128_________________.add(gdstk.Reference(c_scn4m_subm_spice_710_128_______________, (17.7,73.6)))
c_scn4m_subm_spice_710_128_________________.add(gdstk.Reference(c_scn4m_subm_spice_710_128_______________, (19.6,19.6)))
c_scn4m_subm_spice_710_128_________________.add(gdstk.Reference(c_scn4m_subm_spice_710_128________________, (19.6,19.6)))
c_scn4m_subm_spice_710_128_________________.add(gdstk.Reference(c_scn4m_subm_spice_710_128_______________, (4.6,-0.4)))
c_scn4m_subm_spice_710_128_________________.add(gdstk.Reference(c_scn4m_subm_spice_710_128________________, (4.6,-0.4)))
c_scn4m_subm_spice_710_128_________________.add(gdstk.Reference(c_scn4m_subm_spice_710_128_______________, (19.6,19.6)))
c_scn4m_subm_spice_710_128_________________.add(gdstk.Reference(c_scn4m_subm_spice_710_128________________, (19.6,19.6)))
c_scn4m_subm_spice_710_128_________________.add(gdstk.Reference(c_scn4m_subm_spice_710_128_______________, (4.6,39.6)))
c_scn4m_subm_spice_710_128_________________.add(gdstk.Reference(c_scn4m_subm_spice_710_128________________, (4.6,39.6)))
c_scn4m_subm_spice_710_128_________________.add(gdstk.Reference(c_scn4m_subm_spice_710_128_______________, (19.6,59.6)))
c_scn4m_subm_spice_710_128_________________.add(gdstk.Reference(c_scn4m_subm_spice_710_128________________, (19.6,59.6)))
c_scn4m_subm_spice_710_128_________________.add(gdstk.Reference(c_scn4m_subm_spice_710_128_______________, (4.6,39.6)))
c_scn4m_subm_spice_710_128_________________.add(gdstk.Reference(c_scn4m_subm_spice_710_128________________, (4.6,39.6)))
c_scn4m_subm_spice_710_128_________________.add(gdstk.Reference(c_scn4m_subm_spice_710_128_______________, (19.6,59.6)))
c_scn4m_subm_spice_710_128_________________.add(gdstk.Reference(c_scn4m_subm_spice_710_128________________, (19.6,59.6)))
c_scn4m_subm_spice_710_128_________________.add(gdstk.Reference(c_scn4m_subm_spice_710_128_______________, (4.6,79.6)))
c_scn4m_subm_spice_710_128_________________.add(gdstk.Reference(c_scn4m_subm_spice_710_128________________, (4.6,79.6)))
c_scn4m_subm_spice_710_128_________________.add(gdstk.Label('in_0', (1.7,9.8), layer=51, texttype=0))
c_scn4m_subm_spice_710_128_________________.add(gdstk.Label('in_1', (3.1,30.2), layer=51, texttype=0))
c_scn4m_subm_spice_710_128_________________.add(gdstk.Label('out_0', (32.1,9.8), layer=49, texttype=0))
c_scn4m_subm_spice_710_128_________________.add(gdstk.Label('out_1', (32.1,30.2), layer=49, texttype=0))
c_scn4m_subm_spice_710_128_________________.add(gdstk.Label('out_2', (32.1,49.8), layer=49, texttype=0))
c_scn4m_subm_spice_710_128_________________.add(gdstk.Label('out_3', (32.1,70.2), layer=49, texttype=0))
c_scn4m_subm_spice_710_128_________________.add(gdstk.Label('vdd', (20,60), layer=62, texttype=0))
c_scn4m_subm_spice_710_128_________________.add(gdstk.Label('vdd', (20,20), layer=62, texttype=0))
c_scn4m_subm_spice_710_128_________________.add(gdstk.Label('gnd', (5,40), layer=62, texttype=0))
c_scn4m_subm_spice_710_128_________________.add(gdstk.Label('gnd', (5,80), layer=62, texttype=0))
c_scn4m_subm_spice_710_128_________________.add(gdstk.Label('gnd', (5,0), layer=62, texttype=0))

c_scn4m_subm_spice_710_128__________________ = lib.new_cell('scn4m_subm-spice-710-128x8_contact_22')
R(c_scn4m_subm_spice_710_128__________________, via3, [(0.4,0.4,0.8,0.8)])
R(c_scn4m_subm_spice_710_128__________________, metal4, [(0,0,1.2,1.2)])
R(c_scn4m_subm_spice_710_128__________________, metal3, [(0.2,0.2,1,1)])
R(c_scn4m_subm_spice_710_128__________________, boundary, [(0,0,1.2,1.2)])

c_scn4m_subm_spice_710_128___________________ = lib.new_cell('scn4m_subm-spice-710-128x8_column_decoder')
R(c_scn4m_subm_spice_710_128___________________, metal4, [(4,-1,5.2,81), (19.8,-0.6,21,80.6)])
R(c_scn4m_subm_spice_710_128___________________, metal1, [(31.8,9.5,32.4,10.1), (31.8,29.9,32.4,30.5), (31.8,49.5,32.4,50.1), (31.8,69.9,32.4,70.5)])
R(c_scn4m_subm_spice_710_128___________________, metal2, [(1.3,9.4,2.1,10.2), (2.7,29.8,3.5,30.6)])
R(c_scn4m_subm_spice_710_128___________________, boundary, [(0,-1,34.8,81)])
c_scn4m_subm_spice_710_128___________________.add(gdstk.Reference(c_scn4m_subm_spice_710_128_________________, (0,0)))
c_scn4m_subm_spice_710_128___________________.add(gdstk.Reference(c_scn4m_subm_spice_710_128__________________, (19.8,59.4)))
c_scn4m_subm_spice_710_128___________________.add(gdstk.Reference(c_scn4m_subm_spice_710_128__________________, (19.8,19.4)))
c_scn4m_subm_spice_710_128___________________.add(gdstk.Reference(c_scn4m_subm_spice_710_128__________________, (4,39.4)))
c_scn4m_subm_spice_710_128___________________.add(gdstk.Reference(c_scn4m_subm_spice_710_128__________________, (4,79.4)))
c_scn4m_subm_spice_710_128___________________.add(gdstk.Reference(c_scn4m_subm_spice_710_128__________________, (4,-0.6)))
c_scn4m_subm_spice_710_128___________________.add(gdstk.Label('in_0', (1.7,9.8), layer=51, texttype=0))
c_scn4m_subm_spice_710_128___________________.add(gdstk.Label('in_1', (3.1,30.2), layer=51, texttype=0))
c_scn4m_subm_spice_710_128___________________.add(gdstk.Label('out_0', (32.1,9.8), layer=49, texttype=0))
c_scn4m_subm_spice_710_128___________________.add(gdstk.Label('out_1', (32.1,30.2), layer=49, texttype=0))
c_scn4m_subm_spice_710_128___________________.add(gdstk.Label('out_2', (32.1,49.8), layer=49, texttype=0))
c_scn4m_subm_spice_710_128___________________.add(gdstk.Label('out_3', (32.1,70.2), layer=49, texttype=0))
c_scn4m_subm_spice_710_128___________________.add(gdstk.Label('vdd', (20.4,40), layer=31, texttype=0))
c_scn4m_subm_spice_710_128___________________.add(gdstk.Label('gnd', (4.6,40), layer=31, texttype=0))

lib.write_gds('scn4m_subm-spice-710-128x8_column_decoder.gds')
